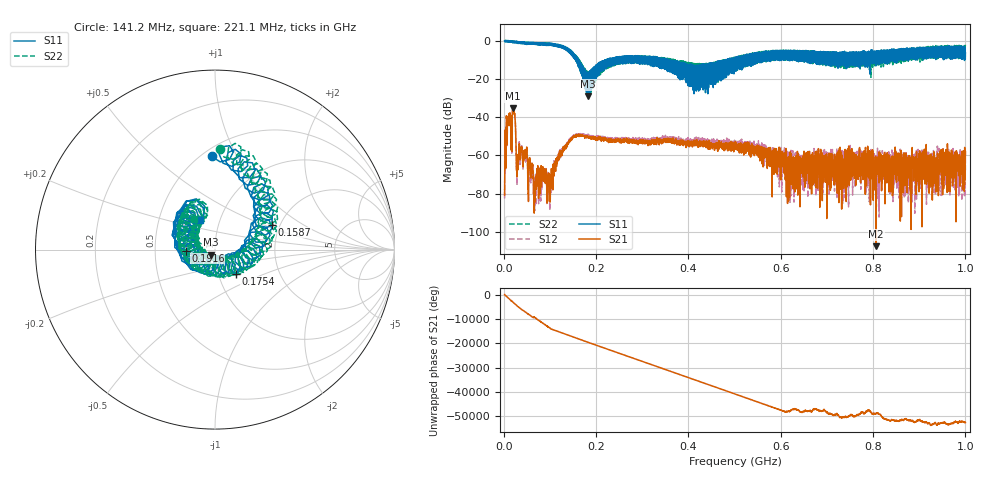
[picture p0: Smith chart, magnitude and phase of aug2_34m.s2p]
!Keysight Technologies N9923A: A.12.45
!Date: Saturday, 02 August 2025 19:23:37
!Timezone: (UTC+08:00) Kuala Lumpur, Singapore
!Model: N9923A
!Serial: MY61181427
!GPS Latitude:
!GPS Longitude:
!GPS TimeStamp: 0001-01-01 00:00:00Z
!GPS Seconds Since Last Read: 0
!CHECKSUM:2129092581
!Correction: S11(ON U)S21(ON U)S12(ON U)S22(ON U)
!S2P File: Measurements:S11,S21,S12,S22:
# Hz S DB R 50
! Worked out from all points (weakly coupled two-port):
!   4001 points, 2 MHz to 1 GHz, reference 50 ohm
!   highest |S21| = -35.43 dB at 19.71 MHz (marker M1); lowest = -107.5 dB at 806.6 MHz (marker M2)
!   lowest |S11| = -29.0 dB at 182.9 MHz (marker M3), VSWR 1.07, Z = 47.8 - j2.66 ohm
!   |S11| at or under -10 dB: 162.2 MHz to 223.4 MHz (61.2 MHz wide, 31.7 % of centre); 223.8 MHz to 225.1 MHz (1.279 MHz wide, 0.57 % of centre); 357.8 MHz to 483 MHz (125.2 MHz wide, 29.8 % of centre) (the widest 3 of 298)
!   |S22| runs from -29.1 to 0.1 dB; largest |S21 - S12| = 0.0025
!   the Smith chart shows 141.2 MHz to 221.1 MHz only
!   S11 on the Smith chart (normalised r, x): 141.2 MHz: 0.56, +0.80; 158.7 MHz: 1.81, +0.58; 175.4 MHz: 1.21, -0.33; 191.6 MHz: 0.72, -0.01; 221.1 MHz: 0.80, +0.27
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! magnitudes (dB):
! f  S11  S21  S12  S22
! 2 MHz  -0.1  -80.8  -82.6  -0.1
! 9.984 MHz  0.0  -41.0  -41.1  0.1
! 19.71 MHz  -0.6  -35.4  -35.5  -0.4
! 31.44 MHz  -0.8  -62.9  -62.2  -0.9
! 47.16 MHz  -1.1  -61.6  -60.6  -0.9
! 67.87 MHz  -1.9  -80.2  -72.4  -1.9
! 98.31 MHz  -2.1  -76.0  -70.6  -2.2
! 141.2 MHz  -5.7  -52.6  -53.2  -5.0
! 158.7 MHz  -9.2  -49.4  -49.0  -9.6
! 168.4 MHz  -15.1  -49.2  -49.4  -15.9
! 175.4 MHz  -15.1  -49.7  -49.2  -15.6
! 182.9 MHz  -29.0  -50.3  -49.6  -24.6
! 191.6 MHz  -15.7  -50.9  -50.4  -18.9
! 221.1 MHz  -14.6  -51.2  -50.6  -13.7
! 334.8 MHz  -11.6  -52.1  -50.7  -9.1
! 417.2 MHz  -26.3  -52.7  -52.0  -14.9
! 501 MHz  -12.1  -55.2  -54.3  -13.8
! 624.5 MHz  -8.1  -61.5  -71.1  -5.1
! 667.4 MHz  -6.3  -61.4  -62.5  -10.8
! 806.6 MHz  -10.6  -107.5  -67.2  -6.2
! 833.8 MHz  -6.2  -61.1  -58.1  -8.3
! 1 GHz  -6.3  -58.1  -67.7  -2.8
